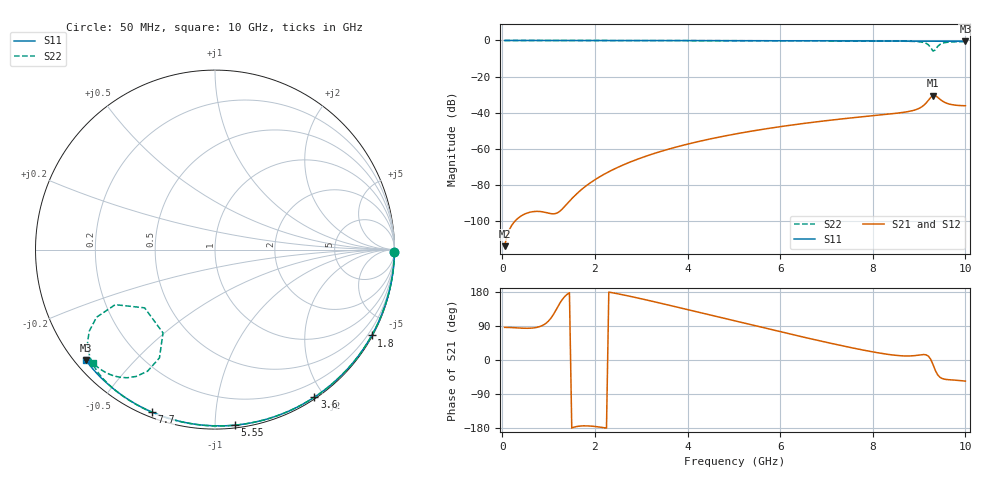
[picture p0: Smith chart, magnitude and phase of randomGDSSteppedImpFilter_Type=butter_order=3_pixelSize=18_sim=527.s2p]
! freq	dB(S11)	phase(S11)	dB(S12)	phase(S12)
!  dB(S21)	phase(S21)	dB(S22)	phase(S22)
!S-par simulation data
#  GHz  S  DB  R 50
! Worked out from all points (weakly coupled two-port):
!   200 points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, 50 MHz to 10 GHz, reference 50 ohm
!   highest |S21| = -30.53 dB at 9.3 GHz (marker M1); lowest = -114.1 dB at 50 MHz (marker M2)
!   lowest |S11| = -0.5 dB at 10 GHz (marker M3), VSWR 36.91, Z = 1.54 - j18.4 ohm
!   |S11| at or under -10 dB: nowhere
!   |S22| runs from -5.9 to 0.0 dB; largest |S21 - S12| = 0
!   S11 on the Smith chart (normalised r, x): 50 MHz: open; 1.8 GHz: 0.03, -3.91; 3.6 GHz: 0.02, -1.88; 5.55 GHz: 0.02, -1.12; 7.7 GHz: 0.02, -0.68; 10 GHz: 0.03, -0.37
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0.05  -0.00 -0.8  -114.10 86.1  -114.10 86.1  -0.00 -0.8
1.75  -0.04 -27.9  -81.86 -173.8  -81.86 -173.8  -0.04 -28.4
1.8  -0.04 -28.7  -80.85 -173.8  -80.85 -173.8  -0.04 -29.2
1.85  -0.04 -29.5  -79.89 -173.9  -79.89 -173.9  -0.04 -30.0
2.55  -0.05 -40.3  -69.72 173.4  -69.72 173.4  -0.05 -41.0
3.4  -0.07 -53.1  -61.72 150.4  -61.72 150.4  -0.07 -54.1
3.6  -0.08 -56.0  -60.21 144.6  -60.21 144.6  -0.08 -57.1
5.05  -0.12 -76.7  -51.79 102.2  -51.79 102.2  -0.12 -78.3
5.55  -0.14 -83.5  -49.59 87.6  -49.59 87.6  -0.14 -85.3
6.7  -0.19 -98.7  -45.41 54.9  -45.41 54.9  -0.20 -101.1
7.7  -0.26 -111.4  -42.51 28.4  -42.51 28.4  -0.27 -114.8
8.35  -0.31 -119.4  -40.82 14.5  -40.82 14.5  -0.34 -124.5
8.85  -0.35 -125.5  -38.99 11.0  -38.99 11.0  -0.51 -134.3
9.1  -0.38 -128.6  -36.00 14.4  -36.00 14.4  -1.12 -143.9
9.2  -0.39 -129.8  -33.25 10.3  -33.25 10.3  -2.38 -150.3
9.25  -0.39 -130.4  -31.63 2.2  -31.63 2.2  -3.95 -151.1
9.3  -0.39 -131.0  -30.53 -11.7  -30.53 -11.7  -5.87 -140.4
9.35  -0.39 -131.6  -30.58 -27.3  -30.58 -27.3  -5.24 -122.0
9.4  -0.40 -132.2  -31.50 -38.9  -31.50 -38.9  -3.38 -117.2
9.5  -0.41 -133.4  -33.56 -48.9  -33.56 -48.9  -1.60 -121.9
9.7  -0.44 -135.9  -35.56 -52.6  -35.56 -52.6  -0.82 -130.2
10  -0.47 -139.5  -36.21 -55.7  -36.21 -55.7  -0.64 -137.2
